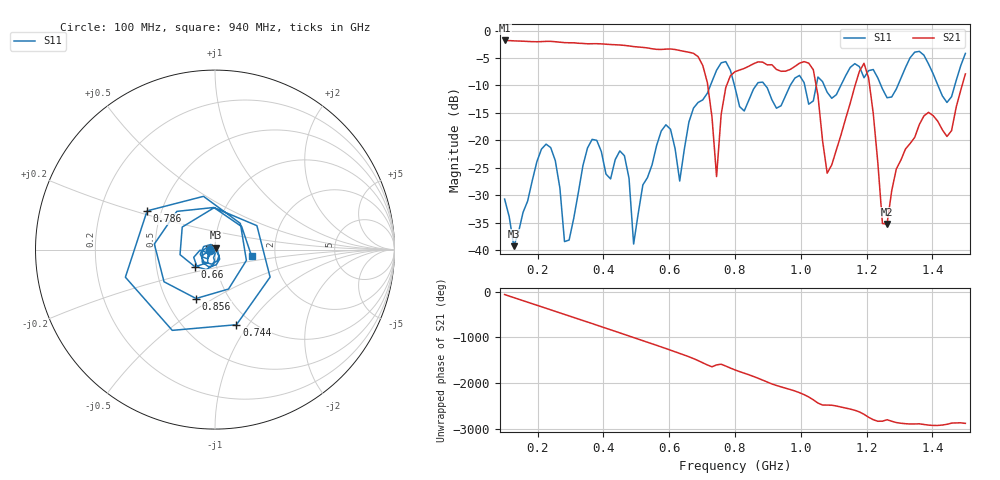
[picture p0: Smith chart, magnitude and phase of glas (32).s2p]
! NanoVNA-App
! Date: 2025-09-26 09:39:05
! Start: 100MHz Stop: 1,5GHz Points: 101
! S-Parameter data: F S11 S21 S12 S22
# Hz S RI R 50
!  Frequency  S11_Real  S11_Imag  S21_Real  S21_Imag  S12_Real  S12_Imag  S22_Real  S22_Imag
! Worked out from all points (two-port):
!   101 points, 100 MHz to 1.5 GHz, reference 50 ohm
!   highest |S21| = -1.79 dB at 100 MHz (marker M1); lowest = -35.3 dB at 1.262 GHz (marker M2)
!   |S21| within 3 dB of the highest: start of sweep to 688.4 MHz
!   lowest |S11| = -39.3 dB at 128 MHz (marker M3), VSWR 1.02, Z = 50.3 + j1.05 ohm
!   |S11| at or under -10 dB: start of sweep to 725.3 MHz; 798.4 MHz to 863.9 MHz (65.53 MHz wide, 7.88 % of centre); 892.3 MHz to 967.7 MHz (75.39 MHz wide, 8.11 % of centre)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
!   S12 and S22 are empty: the file has one direction only
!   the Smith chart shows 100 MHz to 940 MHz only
!   S11 on the Smith chart (normalised r, x): 100 MHz: 0.94, -0.01; 660 MHz: 0.79, -0.15; 744 MHz: 0.85, -0.88; 786 MHz: 0.42, +0.22; 856 MHz: 0.71, -0.42; 940 MHz: 1.51, -0.11
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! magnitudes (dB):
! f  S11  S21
! 100 MHz  -30.7  -1.8
! 128 MHz  -39.3  -1.9
! 212 MHz  -21.6  -2.0
! 282 MHz  -38.5  -2.2
! 338 MHz  -24.6  -2.3
! 464 MHz  -22.8  -2.7
! 492 MHz  -38.9  -2.9
! 576 MHz  -18.3  -3.4
! 632 MHz  -27.4  -3.6
! 660 MHz  -16.7  -3.9
! 716 MHz  -11.4  -9.5
! 744 MHz  -7.2  -26.6
! 786 MHz  -7.2  -8.2
! 800 MHz  -10.4  -7.5
! 856 MHz  -10.7  -6.0
! 940 MHz  -13.7  -7.4
! 1.038 GHz  -12.8  -7.1
! 1.08 GHz  -11.2  -26.0
! 1.192 GHz  -8.6  -6.0
! 1.262 GHz  -12.2  -35.3
! 1.276 GHz  -12.1  -29.2
! 1.5 GHz  -4.2  -7.9
